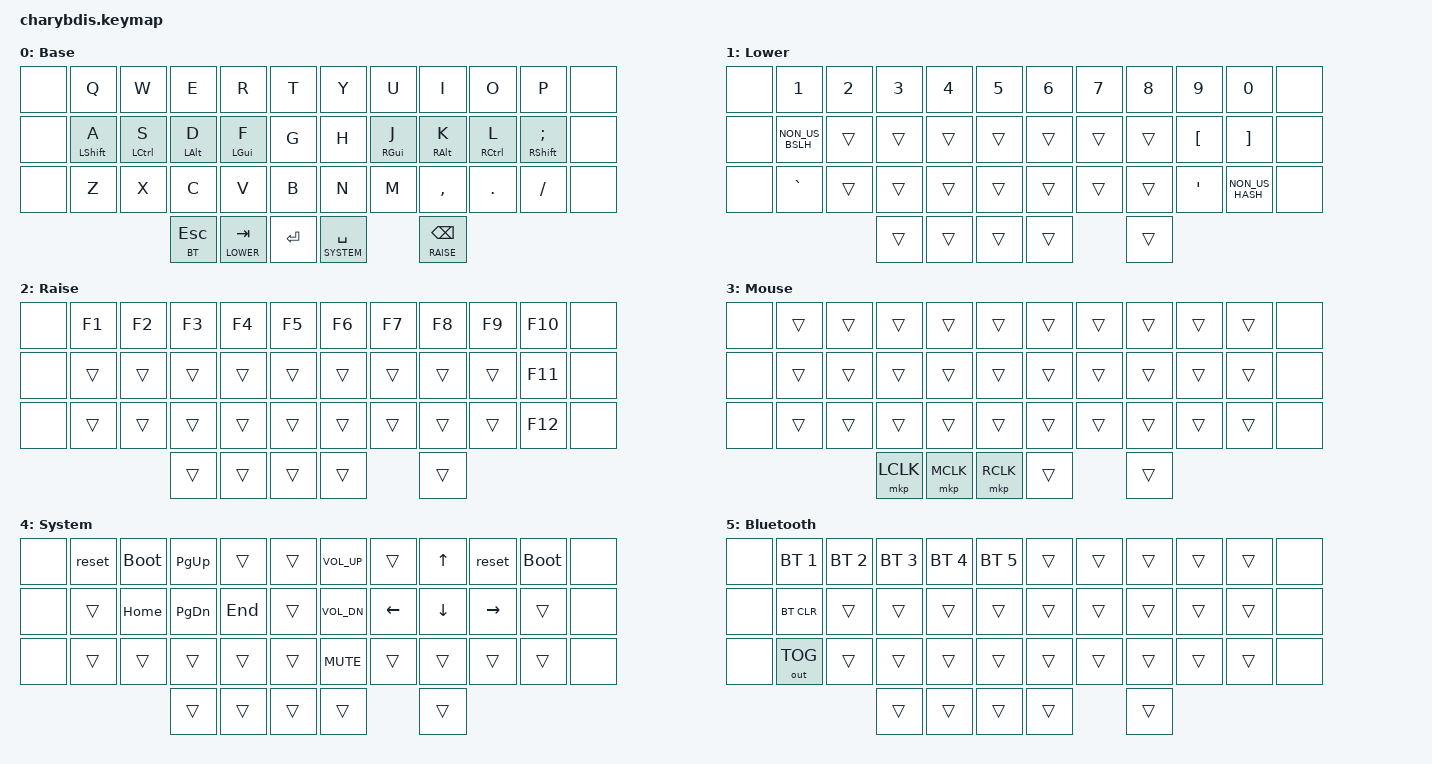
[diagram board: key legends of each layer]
#include <behaviors.dtsi>
#include <dt-bindings/zmk/keys.h>
#include <dt-bindings/zmk/bt.h>
#include <dt-bindings/zmk/mouse.h>
#include <dt-bindings/zmk/outputs.h>

#define BASE    0
#define LOWER   1
#define RAISE   2
#define MOUSE   3
#define SYSTEM  4
#define BT      5

/ {

  keymap {
    compatible = "zmk,keymap";

        Base {
            label = "Base";
            bindings = <
    &none  &kp Q         &kp W        &kp E       &kp R          &kp T                 &kp Y      &kp U       &kp I       &kp O        &kp P           &none
    &none  &mt LSHIFT A  &mt LCTRL S  &mt LALT D  &mt LGUI F     &kp G                 &kp H      &mt RGUI J  &mt RALT K  &mt RCTRL L  &mt RSHFT SEMI  &none
    &none  &kp Z         &kp X        &kp C       &kp V          &kp B                 &kp N      &kp M       &kp COMMA   &kp DOT      &kp FSLH        &none
                                      &lt BT ESC  &lt LOWER TAB  &kp ENTER             &lt SYSTEM SPACE       &lt RAISE BSPC
            >;
            trackball-bindings = <&tmv_coarse>;
        };

        Lower {
            label = "Lower";
            bindings = <
    &none  &kp N1           &kp N2  &kp N3  &kp N4  &kp N5            &kp N6  &kp N7  &kp N8  &kp N9    &kp N0            &none
    &none  &kp NON_US_BSLH  &trans  &trans  &trans  &trans            &trans  &trans  &trans  &kp LBKT  &kp RBKT          &none
    &none  &kp GRAVE        &trans  &trans  &trans  &trans            &trans  &trans  &trans  &kp SQT   &kp NON_US_HASH   &none
                                    &trans  &trans  &trans            &trans  &trans
            >;
            trackball-bindings = <&tmv_fine>;
        };

        Raise {
            label = "Raise";
            bindings = <
    &none  &kp F1  &kp F2  &kp F3  &kp F4  &kp F5         &kp F6  &kp F7  &kp F8  &kp F9  &kp F10  &none
    &none  &trans  &trans  &trans  &trans  &trans         &trans  &trans  &trans  &trans  &kp F11  &none
    &none  &trans  &trans  &trans  &trans  &trans         &trans  &trans  &trans  &trans  &kp F12  &none
                           &trans  &trans  &trans         &trans  &trans
            >;
            trackball-bindings = <&tsl_fine>;
        };

        Mouse {
            bindings = <
   &none  &trans  &trans  &trans     &trans     &trans      &trans  &trans  &trans  &trans  &trans  &none
   &none  &trans  &trans  &trans     &trans     &trans      &trans  &trans  &trans  &trans  &trans  &none
   &none  &trans  &trans  &trans     &trans     &trans      &trans  &trans  &trans  &trans  &trans  &none
                          &mkp LCLK  &mkp MCLK  &mkp RCLK   &trans  &trans
            >;
            trackball-bindings = <&tmv_fine>;
        };


        System {
            bindings = <
   &none  &reset  &bootloader  &kp PG_UP  &trans   &trans      &kp C_VOL_UP  &trans    &kp UP    &reset      &bootloader  &none
   &none  &trans  &kp HOME     &kp PG_DN  &kp END  &trans      &kp C_VOL_DN  &kp LEFT  &kp DOWN  &kp RIGHT   &trans       &none
   &none  &trans  &trans       &trans     &trans   &trans      &kp C_MUTE  &trans    &trans    &trans        &trans       &none
                               &trans     &trans   &trans      &trans  &trans
            >;
            trackball-bindings = <&tmv_fine>;
        };

        Bluetooth {
            bindings = <
   &none  &bt BT_SEL 1  &bt BT_SEL 2  &bt BT_SEL 3  &bt BT_SEL 4  &bt BT_SEL 5      &trans  &trans  &trans  &trans  &trans  &none
   &none  &bt BT_CLR    &trans        &trans        &trans        &trans            &trans  &trans  &trans  &trans  &trans  &none
   &none  &out OUT_TOG  &trans        &trans        &trans        &trans            &trans  &trans  &trans  &trans  &trans  &none
                                      &trans        &trans        &trans            &trans  &trans
            >;
            trackball-bindings = <&tmv_fine>;
        };
    };
};
